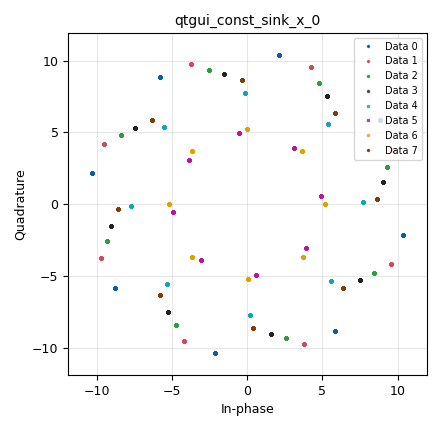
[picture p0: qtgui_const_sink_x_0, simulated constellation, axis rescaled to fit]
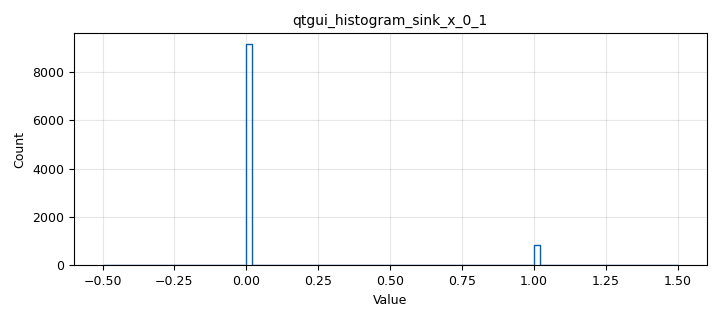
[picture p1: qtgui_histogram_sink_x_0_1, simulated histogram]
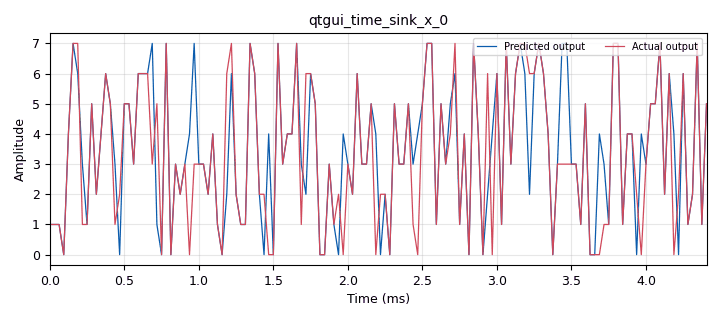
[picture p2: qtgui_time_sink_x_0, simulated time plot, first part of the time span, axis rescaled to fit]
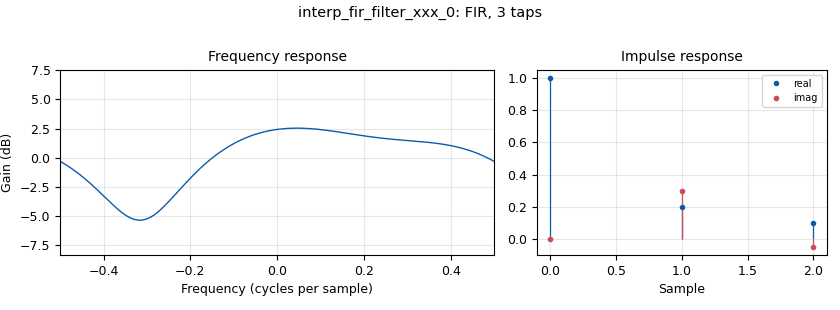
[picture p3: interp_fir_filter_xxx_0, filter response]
options:
  parameters:
    author: YASH
    generate_options: qt_gui
    id: ofdm
    output_language: python
    title: Not titled yet
  states: {}

blocks:
- name: FFT_SIZE
  id: variable
  parameters:
    value: '8'
  states: {}
- name: delay_actual_signal
  id: variable_qtgui_range
  parameters:
    start: '0'
    step: '1'
    stop: '100'
    value: '0'
  states: {}
- name: h
  id: variable
  parameters:
    value: '[1.0, 0.2 + 0.3j, 0.1 - 0.05j]'
  states: {}
- name: my_const
  id: variable_constellation
  parameters:
    precision: '8'
    type: 8psk
  states: {}
- name: noisestd
  id: variable_qtgui_range
  parameters:
    start: '0'
    step: '0.01'
    stop: '5'
    value: '0'
  states: {}
- name: samp_rate
  id: variable
  parameters:
    value: '32000'
  states: {}
- name: analog_noise_source_x_0
  id: analog_noise_source_x
  parameters:
    amp: noisestd
    noise_type: analog.GR_GAUSSIAN
    seed: '0'
    type: complex
  states: {}
- name: analog_random_source_x_0
  id: analog_random_source_x
  parameters:
    max: '8'
    min: '0'
    num_samps: '1000'
    repeat: 'True'
    type: byte
  states: {}
- name: blocks_add_xx_0
  id: blocks_add_xx
  parameters:
    type: complex
  states: {}
- name: blocks_delay_1_0
  id: blocks_delay
  parameters:
    delay: delay_actual_signal*0
    type: byte
  states: {state: disabled}
- name: blocks_delay_1_0_0
  id: blocks_delay
  parameters:
    delay: delay_actual_signal
    type: byte
  states: {state: disabled}
- name: blocks_delay_1_0_0_0
  id: blocks_delay
  parameters:
    delay: delay_actual_signal
    type: complex
  states: {}
- name: blocks_int_to_float_0
  id: blocks_int_to_float
  parameters:
    scale: '1'
  states: {state: disabled}
- name: blocks_keep_m_in_n_0
  id: blocks_keep_m_in_n
  parameters:
    m: FFT_SIZE
    n: FFT_SIZE + 3
    offset: '3'
    type: complex
  states: {}
- name: blocks_stream_demux_0
  id: blocks_stream_demux
  parameters:
    lengths: '[1]*FFT_SIZE'
    num_outputs: FFT_SIZE
    type: complex
  states: {}
- name: blocks_stream_demux_1
  id: blocks_stream_demux
  parameters:
    lengths: '[1]*FFT_SIZE'
    num_outputs: FFT_SIZE
    type: complex
  states: {}
- name: blocks_stream_mux_0
  id: blocks_stream_mux
  parameters:
    lengths: '[1]*(FFT_SIZE + 3)'
    num_inputs: FFT_SIZE +3
    type: complex
  states: {}
- name: blocks_stream_to_vector_0
  id: blocks_stream_to_vector
  parameters:
    num_items: FFT_SIZE
    type: complex
  states: {}
- name: blocks_stream_to_vector_1
  id: blocks_stream_to_vector
  parameters:
    num_items: FFT_SIZE
    type: complex
  states: {}
- name: blocks_throttle2_0
  id: blocks_throttle2
  parameters:
    samples_per_second: samp_rate
    type: complex
  states: {}
- name: blocks_uchar_to_float_0
  id: blocks_uchar_to_float
  parameters: {}
  states: {}
- name: blocks_uchar_to_float_0_0
  id: blocks_uchar_to_float
  parameters: {}
  states: {}
- name: blocks_uchar_to_float_0_2
  id: blocks_uchar_to_float
  parameters: {}
  states: {}
- name: blocks_vector_to_stream_0
  id: blocks_vector_to_stream
  parameters:
    num_items: FFT_SIZE
    type: complex
  states: {}
- name: blocks_vector_to_stream_1
  id: blocks_vector_to_stream
  parameters:
    num_items: FFT_SIZE
    type: complex
  states: {}
- name: digital_constellation_decoder_cb_0
  id: digital_constellation_decoder_cb
  parameters:
    constellation: my_const
  states: {}
- name: digital_constellation_encoder_bc_0
  id: digital_constellation_encoder_bc
  parameters:
    constellation: my_const
  states: {}
- name: epy_block_0
  id: epy_block
  parameters:
    _source_code: "\"\"\"\nEmbedded Python Blocks:\n\nEach time this file is saved, GRC will instantiate the first class it finds\nto get ports and parameters of your block. The arguments to __init__  will\nbe the parameters. All of them are required to have default values!\n\"\"\"\n\nimport numpy as np\nfrom gnuradio import gr\n\n\nclass blk(gr.sync_block):  # other base classes are basic_block, decim_block, interp_block\n    \"\"\"Embedded Python Block example - a simple multiply const\"\"\"\n\n    def __init__(self):  # only default arguments here\n        \"\"\"arguments to this function show up as parameters in GRC\"\"\"\n        gr.sync_block.__init__(\n            self,\n            name='Embedded Python Block',   # will show up in GRC\n            in_sig=[np.int8, np.int8],\n            out_sig=[np.int32]\n        )\n        # if an attribute with the same name as a parameter is found,\n        # a callback is registered (properties work, too).\n        # self.example_param = example_param\n\n    def work(self, input_items, output_items):\n        \"\"\"example: multiply with constant\"\"\"\n        output_items[0][:] = (input_items[0] != input_items[1]).astype('int8')\n        return len(output_items[0])\n\n"
  states: {state: disabled}
- name: epy_block_0_2
  id: epy_block
  parameters:
    _source_code: |
      """
      Embedded Python Blocks:

      Each time this file is saved, GRC will instantiate the first class it finds
      to get ports and parameters of your block. The arguments to __init__  will
      be the parameters. All of them are required to have default values!
      """

      import numpy as np
      from gnuradio import gr


      class blk(gr.interp_block):  # other base classes are basic_block, decim_block, interp_block
          """Embedded Python Block example - a simple multiply const"""

          def __init__(self, interp_rate = 2):  # only default arguments here
              """arguments to this function show up as parameters in GRC"""
              gr.interp_block.__init__(
                  self,
                  name='BER Counter',   # will show up in GRC
                  in_sig=[np.int8, np.int8],
                  out_sig=[np.int8],
                  interp = interp_rate
              )
              self.interp_rate = interp_rate
              self.set_relative_rate(interp_rate)

          def work(self, input_items, output_items):
              """example: multiply with constant"""
              error = np.bitwise_xor(input_items[0], input_items[1])
              error = np.unpackbits(error.astype('uint8'))
              pattern_list = []
              for i in range(self.interp_rate):
                  pattern_list.append(error[(7-i)::8])
              output_items[0][:] = np.concatenate(pattern_list)
              return len(output_items[0])
    interp_rate: '3'
  states: {}
- name: fft_vxx_0
  id: fft_vxx
  parameters:
    fft_size: FFT_SIZE
    forward: 'False'
    shift: 'False'
    type: complex
    window: '[1]*FFT_SIZE'
  states: {}
- name: fft_vxx_1
  id: fft_vxx
  parameters:
    fft_size: FFT_SIZE
    forward: 'True'
    shift: 'False'
    type: complex
    window: '[1]*FFT_SIZE'
  states: {}
- name: interp_fir_filter_xxx_0
  id: interp_fir_filter_xxx
  parameters:
    interp: '1'
    taps: h
    type: ccc
  states: {}
- name: qtgui_const_sink_x_0
  id: qtgui_const_sink_x
  parameters:
    nconnections: '8'
    size: '1024'
    type: complex
  states: {}
- name: qtgui_histogram_sink_x_0
  id: qtgui_histogram_sink_x
  parameters:
    bins: '100'
    label1: Symbol error rate
    name: '"Symbol Error"'
    size: '1024'
    type: float
    xmax: '1.5'
    xmin: '-0.5'
  states: {state: disabled}
- name: qtgui_histogram_sink_x_0_1
  id: qtgui_histogram_sink_x
  parameters:
    bins: '100'
    grid: 'True'
    label1: Bit error rate
    size: '10000'
    type: float
    xmax: '1.5'
    xmin: '-0.5'
  states: {}
- name: qtgui_time_sink_x_0
  id: qtgui_time_sink_x
  parameters:
    label1: Predicted output
    label2: Actual output
    nconnections: '2'
    size: '1024'
    srate: samp_rate
    type: float
  states: {}
- name: virtual_sink_0
  id: virtual_sink
  parameters:
    stream_id: actual_data
  states: {}
- name: virtual_source_0
  id: virtual_source
  parameters:
    stream_id: actual_data
  states: {}

connections:
- [analog_noise_source_x_0, '0', blocks_add_xx_0, '1']
- [analog_random_source_x_0, '0', digital_constellation_encoder_bc_0, '0']
- [analog_random_source_x_0, '0', virtual_sink_0, '0']
- [blocks_add_xx_0, '0', blocks_keep_m_in_n_0, '0']
- [blocks_delay_1_0, '0', blocks_uchar_to_float_0_0, '0']
- [blocks_delay_1_0, '0', epy_block_0, '1']
- [blocks_delay_1_0, '0', epy_block_0_2, '1']
- [blocks_delay_1_0_0, '0', blocks_uchar_to_float_0, '0']
- [blocks_delay_1_0_0, '0', epy_block_0, '0']
- [blocks_delay_1_0_0, '0', epy_block_0_2, '0']
- [blocks_delay_1_0_0_0, '0', blocks_stream_to_vector_1, '0']
- [blocks_int_to_float_0, '0', qtgui_histogram_sink_x_0, '0']
- [blocks_keep_m_in_n_0, '0', blocks_delay_1_0_0_0, '0']
- [blocks_stream_demux_0, '0', blocks_stream_mux_0, '3']
- [blocks_stream_demux_0, '1', blocks_stream_mux_0, '4']
- [blocks_stream_demux_0, '2', blocks_stream_mux_0, '5']
- [blocks_stream_demux_0, '3', blocks_stream_mux_0, '6']
- [blocks_stream_demux_0, '4', blocks_stream_mux_0, '7']
- [blocks_stream_demux_0, '5', blocks_stream_mux_0, '0']
- [blocks_stream_demux_0, '5', blocks_stream_mux_0, '8']
- [blocks_stream_demux_0, '6', blocks_stream_mux_0, '1']
- [blocks_stream_demux_0, '6', blocks_stream_mux_0, '9']
- [blocks_stream_demux_0, '7', blocks_stream_mux_0, '10']
- [blocks_stream_demux_0, '7', blocks_stream_mux_0, '2']
- [blocks_stream_demux_1, '0', qtgui_const_sink_x_0, '0']
- [blocks_stream_demux_1, '1', qtgui_const_sink_x_0, '1']
- [blocks_stream_demux_1, '2', qtgui_const_sink_x_0, '2']
- [blocks_stream_demux_1, '3', qtgui_const_sink_x_0, '3']
- [blocks_stream_demux_1, '4', qtgui_const_sink_x_0, '4']
- [blocks_stream_demux_1, '5', qtgui_const_sink_x_0, '5']
- [blocks_stream_demux_1, '6', qtgui_const_sink_x_0, '6']
- [blocks_stream_demux_1, '7', qtgui_const_sink_x_0, '7']
- [blocks_stream_mux_0, '0', interp_fir_filter_xxx_0, '0']
- [blocks_stream_to_vector_0, '0', fft_vxx_0, '0']
- [blocks_stream_to_vector_1, '0', fft_vxx_1, '0']
- [blocks_throttle2_0, '0', blocks_stream_to_vector_0, '0']
- [blocks_uchar_to_float_0, '0', qtgui_time_sink_x_0, '0']
- [blocks_uchar_to_float_0_0, '0', qtgui_time_sink_x_0, '1']
- [blocks_uchar_to_float_0_2, '0', qtgui_histogram_sink_x_0_1, '0']
- [blocks_vector_to_stream_0, '0', blocks_stream_demux_0, '0']
- [blocks_vector_to_stream_1, '0', blocks_stream_demux_1, '0']
- [blocks_vector_to_stream_1, '0', digital_constellation_decoder_cb_0, '0']
- [digital_constellation_decoder_cb_0, '0', blocks_delay_1_0_0, '0']
- [digital_constellation_decoder_cb_0, '0', blocks_uchar_to_float_0, '0']
- [digital_constellation_decoder_cb_0, '0', epy_block_0_2, '0']
- [digital_constellation_encoder_bc_0, '0', blocks_throttle2_0, '0']
- [epy_block_0, '0', blocks_int_to_float_0, '0']
- [epy_block_0_2, '0', blocks_uchar_to_float_0_2, '0']
- [fft_vxx_0, '0', blocks_vector_to_stream_0, '0']
- [fft_vxx_1, '0', blocks_vector_to_stream_1, '0']
- [interp_fir_filter_xxx_0, '0', blocks_add_xx_0, '0']
- [virtual_source_0, '0', blocks_delay_1_0, '0']
- [virtual_source_0, '0', blocks_uchar_to_float_0_0, '0']
- [virtual_source_0, '0', epy_block_0_2, '1']

metadata:
  file_format: 1
  grc_version: 3.10.7.0
